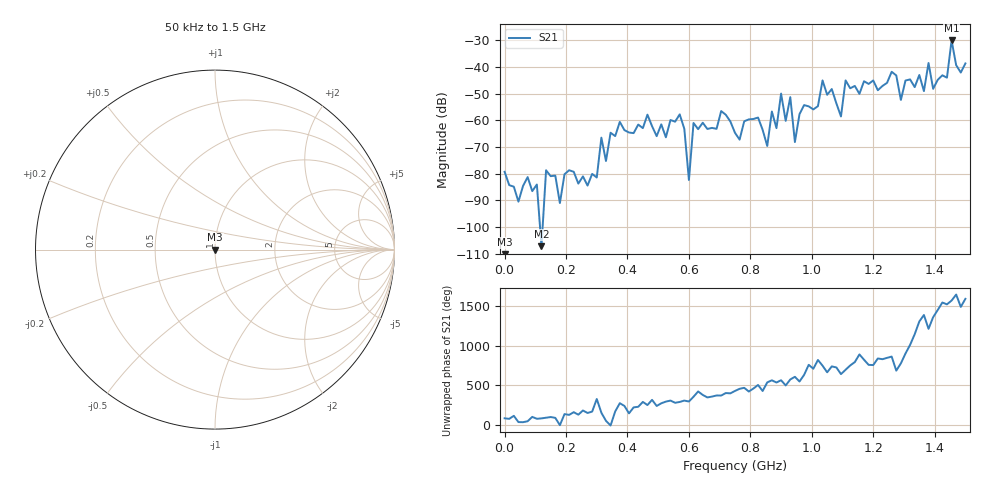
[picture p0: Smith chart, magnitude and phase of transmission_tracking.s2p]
! Created with skrf 1.8.0 (http://scikit-rf.org).
# Hz S RI R 50.0
!freq ReS11 ImS11 ReS21 ImS21 ReS12 ImS12 ReS22 ImS22
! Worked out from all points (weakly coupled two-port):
!   101 points, 50 kHz to 1.5 GHz, reference 50 ohm
!   highest |S21| = -30.06 dB at 1.455 GHz (marker M1); lowest = -107.2 dB at 120 MHz (marker M2)
!   lowest |S11| = - dB at 50 kHz (marker M3), VSWR 1.00, Z = 50 + j0 ohm
!   |S11| at or under -10 dB: start of sweep to end of sweep
!   S12 and S22 are empty: the file has one direction only
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50000  0 0  1.22e-05 0.000107  0 0  0 0
1.20046e8  0 0  5.57e-07 4.31e-06  0 0  0 0
2.550415e8  0 0  -8.84e-05 -3.44e-06  0 0  0 0
3.750375e8  0 0  7.44e-05 -0.000929  0 0  0 0
5.10033e8  0 0  4.56e-05 -0.000836  0 0  0 0
5.70031e8  0 0  0.000444 -0.00121  0 0  0 0
6.0003e8  0 0  3.31e-05 -6.8e-05  0 0  0 0
6.150295e8  0 0  0.000887 -6.05e-05  0 0  0 0
7.50025e8  0 0  0.000202 0.000545  0 0  0 0
8.250225e8  0 0  -0.00092 0.000645  0 0  0 0
8.550215e8  0 0  -0.000329 1.43e-05  0 0  0 0
9.0002e8  0 0  -0.00287 -0.00134  0 0  0 0
9.150195e8  0 0  -0.000734 0.000638  0 0  0 0
9.30019e8  0 0  -0.00223 -0.00155  0 0  0 0
9.450185e8  0 0  -0.000145 -0.000361  0 0  0 0
1.005016e9  0 0  0.00157 -0.000272  0 0  0 0
1.035016e9  0 0  0.00488 0.0027  0 0  0 0
1.260008e9  0 0  -0.00655 0.00479  0 0  0 0
1.395004e9  0 0  0.000812 -0.0038  0 0  0 0
1.440002e9  0 0  0.000594 0.00626  0 0  0 0
1.455002e9  0 0  -0.021 0.0233  0 0  0 0
1.5e9  0 0  -0.0105 0.00508  0 0  0 0
